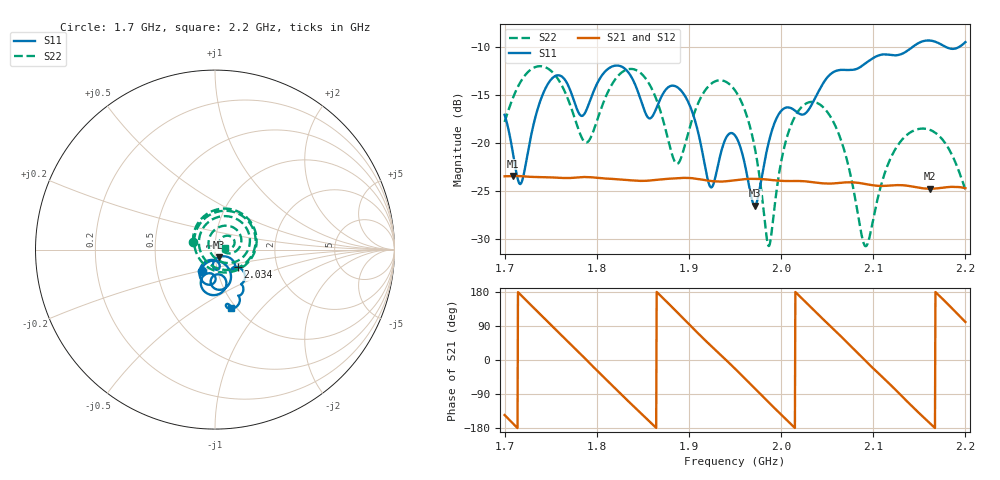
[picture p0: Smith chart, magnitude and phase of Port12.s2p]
# Hz S RI R 50
! CMT, CMT808U, 21440046, 21.4.3/4
! Date: 11/20/2025 11:40:39 PM
! Data: Format (Calibration Info)
! Freq	S11:Re/Im(F2)	S41:Re/Im(F2)	S14:Re/Im(F2)	S44:Re/Im(F2)
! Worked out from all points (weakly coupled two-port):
!   1001 points, 1.7 GHz to 2.2 GHz, reference 50 ohm
!   highest |S21| = -23.44 dB at 1.71 GHz (marker M1); lowest = -24.8 dB at 2.162 GHz (marker M2)
!   lowest |S11| = -26.6 dB at 1.972 GHz (marker M3), VSWR 1.10, Z = 51.9 - j4.42 ohm
!   |S11| at or under -10 dB: start of sweep to 2.142 GHz; 2.179 GHz to 2.193 GHz (13.24 MHz wide, 0.606 % of centre)
!   |S22| runs from -30.8 to -12.0 dB; largest |S21 - S12| = 0.00076
!   S11 on the Smith chart (normalised r, x): 1.7 GHz: 0.84, -0.20; 2.034 GHz: 1.27, -0.25; 2.2 GHz: 0.95, -0.69
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1.7e9  -0.074 -0.1193  -0.0551 -0.0382  -0.0556 -0.0378  -0.1221 0.0412
1.7095e9  -0.0454 -0.073  -0.0659 -0.0134  -0.0663 -0.0129  -0.0966 0.1451
1.7185e9  0.00879 -0.0618  -0.0659 0.0124  -0.066 0.0131  -0.0217 0.212
1.7495e9  0.0739 -0.1987  -0.00519 0.066  -0.00467 0.0662  0.2316 0.0629
1.7835e9  0.0116 -0.138  0.0646 0.0153  0.0649 0.0148  -0.036 -0.1009
1.802e9  0.0619 -0.2023  0.0557 -0.0348  0.0556 -0.0354  -0.1116 0.0821
1.823e9  -0.0165 -0.2532  0.00887 -0.0641  0.0083 -0.0644  0.0575 0.2164
1.8455e9  -0.0755 -0.1641  -0.0449 -0.0449  -0.0454 -0.0446  0.2248 0.0724
1.867e9  0.0034 -0.1616  -0.0641 0.00569  -0.0642 0.0063  0.1176 -0.1048
1.8875e9  -0.061 -0.1857  -0.0381 0.0533  -0.0377 0.0538  -0.0674 -0.0391
1.9235e9  -0.0126 -0.0575  0.0497 0.0393  0.0502 0.0389  0.0874 0.1828
1.95e9  -0.000457 -0.1095  0.059 -0.0248  0.0588 -0.0255  0.188 0.00947
1.9715e9  0.0201 -0.0425  0.0167 -0.0628  0.0161 -0.0631  0.0585 -0.0738
1.987e9  0.0893 -0.0508  -0.025 -0.0592  -0.0257 -0.0591  -0.0272 -0.0102
2.007e9  0.1047 -0.1122  -0.0596 -0.0213  -0.0599 -0.0207  -0.00178 0.1098
2.0335e9  0.1264 -0.0973  -0.045 0.0434  -0.0445 0.0439  0.1298 0.1003
2.034e9  0.1282 -0.0977  -0.044 0.0443  -0.0436 0.0448  0.1313 0.0983
2.0635e9  0.1564 -0.1826  0.0252 0.0565  0.0257 0.0563  0.1076 -0.0145
2.091e9  0.1562 -0.2072  0.0611 -0.00113  0.0612 -0.00169  0.0275 0.00929
2.117e9  0.1332 -0.2565  0.0287 -0.0526  0.0282 -0.053  0.0408 0.0682
2.162e9  0.0947 -0.3294  -0.0565 -0.0119  -0.0566 -0.0113  0.1091 0.0419
2.2e9  0.0879 -0.3247  -0.0104 0.0572  -0.00986 0.0573  0.0564 0.00921
